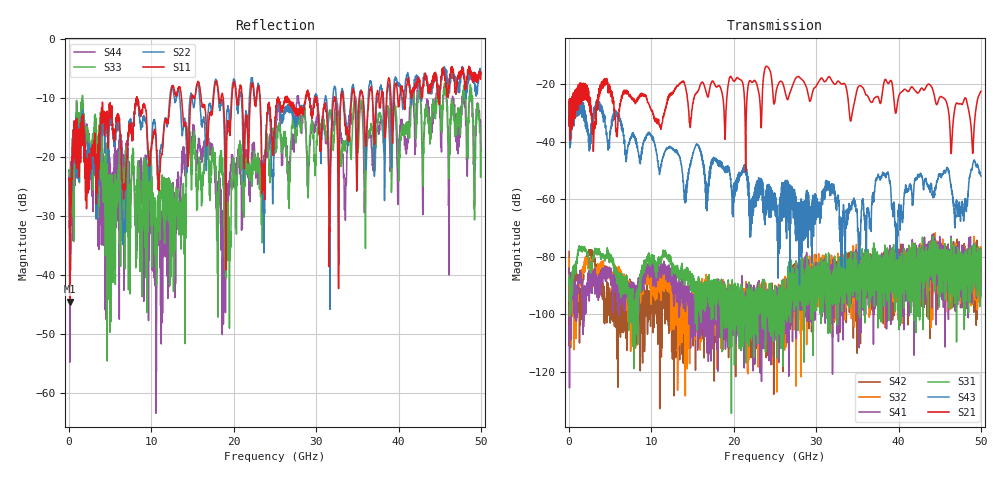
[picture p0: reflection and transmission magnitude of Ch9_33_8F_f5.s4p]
!Agilent Technologies,N5247A,US51170199,A.09.90.13
!Agilent N5247A: A.09.90.13
!Date: Wednesday, December 16, 2015 12:08:20
!Correction: S11(Full 4 Port(1,2,3,4))
!S12(Full 4 Port(1,2,3,4))
!S13(Full 4 Port(1,2,3,4))
!S14(Full 4 Port(1,2,3,4))
!S21(Full 4 Port(1,2,3,4))
!S22(Full 4 Port(1,2,3,4))
!S23(Full 4 Port(1,2,3,4))
!S24(Full 4 Port(1,2,3,4))
!S31(Full 4 Port(1,2,3,4))
!S32(Full 4 Port(1,2,3,4))
!S33(Full 4 Port(1,2,3,4))
!S34(Full 4 Port(1,2,3,4))
!S41(Full 4 Port(1,2,3,4))
!S42(Full 4 Port(1,2,3,4))
!S43(Full 4 Port(1,2,3,4))
!S44(Full 4 Port(1,2,3,4))
!S4P File: Measurements: <S11,S12,S13,S14>,
!<S21,S22,S23,S24>,
!<S31,S32,S33,S34>,
!<S41,S42,S43,S44>:
# Hz S  dB  R 50
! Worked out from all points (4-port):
!   3201 points, 10 MHz to 50 GHz, reference 50 ohm
!   strongest paths, dB at 10 MHz, 12.51 GHz, 25 GHz, 37.5 GHz, 50 GHz:
!     S21: -34.5, -23.5, -25.9, -24.4, -22.5
!     S43: -34.6, -42.5, -58.0, -52.2, -52.0
!     S31: -89.5, -83.7, -95.7, -81.7, -83.5
!     S41: -84.0, -85.6, -96.7, -84.9, -93.6
!     S32: -80.7, -93.5, -95.7, -90.1, -76.6
!     S42: -78.2, -92.7, -98.1, -89.5, -77.0
!   lowest |S11| = -44.5 dB at 88.11 MHz (marker M1), VSWR 1.01, Z = 50.4 + j0.485 ohm
!   |S11| at or under -10 dB: start of sweep to 8.131 GHz; 8.251 GHz to 12.28 GHz (4.032 GHz wide, 39.3 % of centre); 23.19 GHz to 25.35 GHz (2.16 GHz wide, 8.9 % of centre)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
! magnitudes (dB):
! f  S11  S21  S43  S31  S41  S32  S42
! 10 MHz  -23.7  -34.5  -34.6  -89.5  -84.0  -80.7  -78.2
! 88.11 MHz  -44.5  -39.6  -42.2  -94.9  -90.5  -106.5  -100.1
! 10.49 GHz  -15.9  -32.9  -41.9  -82.8  -87.5  -91.1  -91.0
! 15.07 GHz  -9.7  -26.4  -44.0  -87.6  -104.5  -95.6  -111.1
! 18.76 GHz  -10.5  -26.6  -49.1  -96.3  -101.6  -96.8  -107.0
! 35.24 GHz  -10.6  -20.6  -76.2  -100.0  -92.7  -85.1  -93.7
! 50 GHz  -5.7  -22.5  -52.0  -83.5  -93.6  -76.6  -77.0
